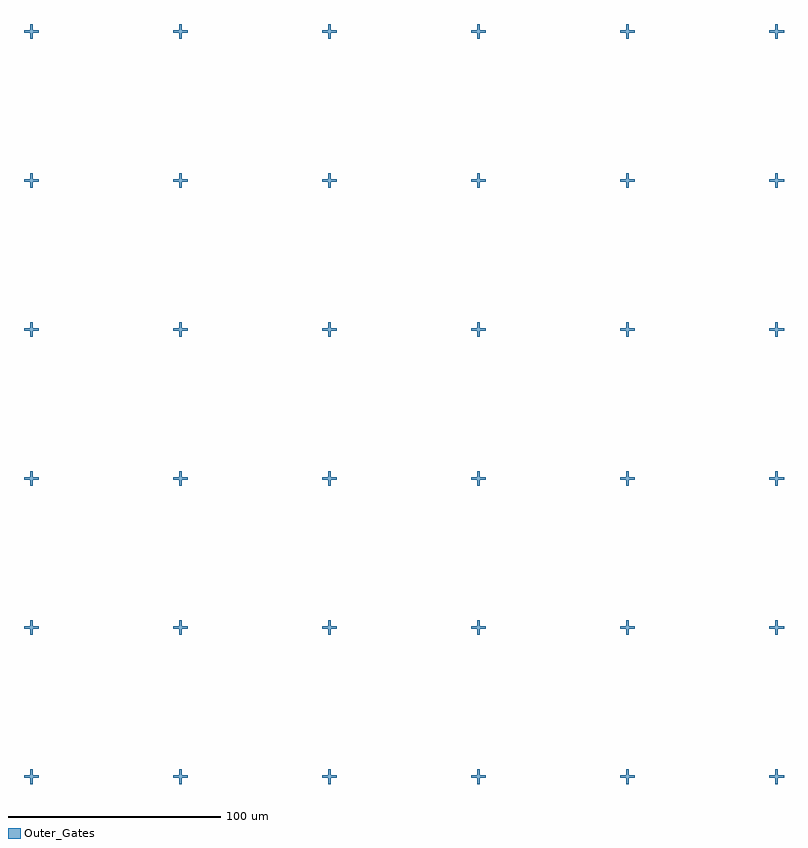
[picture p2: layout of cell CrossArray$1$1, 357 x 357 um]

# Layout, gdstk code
import gdstk
lib = gdstk.Library(unit=1e-6, precision=1e-09)
def R(c, l, rs):  # rectangles x0, y0, x1, y1
    for r in rs: c.add(gdstk.rectangle(r[:2], r[2:], *l))
def A(c, l, x, y, w, h, nx, ny, dx, dy):  # array of equal rectangles
    R(c, l, [(x+i*dx, y+j*dy, x+i*dx+w, y+j*dy+h) for i in range(nx) for j in range(ny)])
Outer_Gates = (7, 0)

crossarray_1_1 = lib.new_cell('CrossArray$1$1')
A(crossarray_1_1, Outer_Gates, -0.5, -3.5, 1, 7, 6, 6, 70, 70)
A(crossarray_1_1, Outer_Gates, -3.5, -0.5, 7, 1, 6, 6, 70, 70)

lib.write_gds('CrossArray_1_1.gds')
